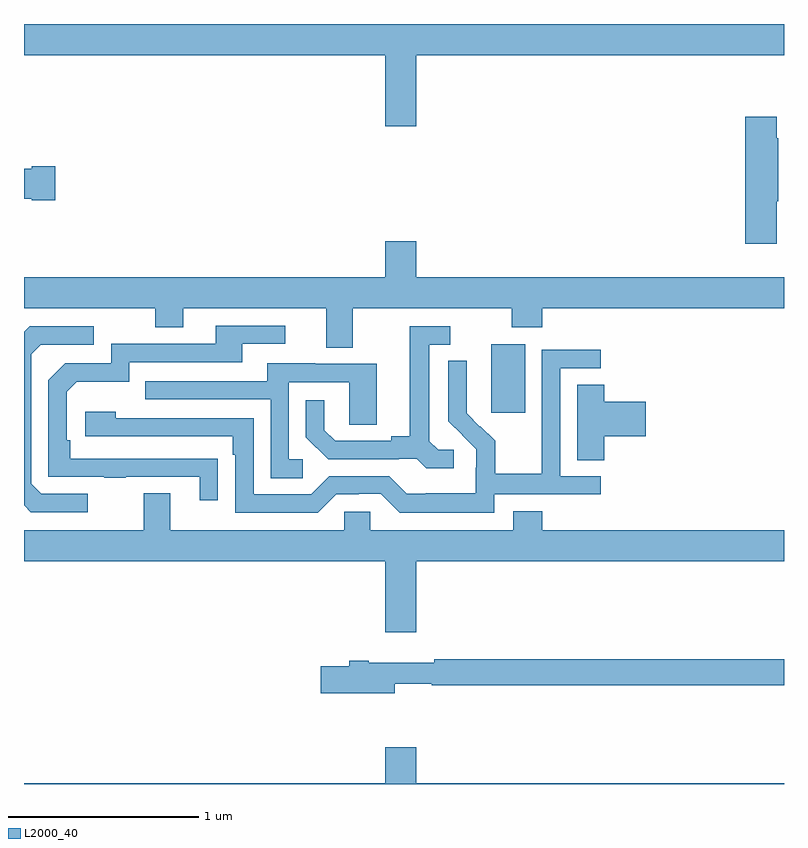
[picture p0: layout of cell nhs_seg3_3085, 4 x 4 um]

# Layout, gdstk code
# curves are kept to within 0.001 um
import gdstk
lib = gdstk.Library(unit=1e-6, precision=1e-09)
def R(c, l, rs):  # rectangles x0, y0, x1, y1
    for r in rs: c.add(gdstk.rectangle(r[:2], r[2:], *l))
def P(c, l, *ps):  # polygons
    for p in ps: c.add(gdstk.Polygon(p, *l))
L2000_40 = (2000, 40)

nhs_seg3_3085 = lib.new_cell('nhs_seg3_3085')
R(nhs_seg3_3085, L2000_40, [(273.458,712.353,273.637,712.714)])
P(nhs_seg3_3085, L2000_40, [(273.064,714.236),(275,714.236),(275,714.4),(271,714.4),(271,714.236),(272.9,714.236),(272.9,713.862),(273.064,713.862)],
  [(274.963,713.467),(274.971,713.467),(274.971,713.798),(274.963,713.798),(274.963,713.911),(274.796,713.911),(274.796,713.244),(274.963,713.244)],
  [(271.165,713.651),(271.041,713.651),(271.041,713.638),(271,713.638),(271,713.48),(271.041,713.48),(271.041,713.473),(271.165,713.473)],
  [(271,712.904),(271.69,712.904),(271.69,712.805),(271.837,712.805),(271.837,712.904),(272.591,712.904),(272.591,712.696),(272.731,712.696),(272.731,712.904),(273.568,712.904),(273.568,712.805),(273.728,712.805),(273.728,712.904),(275,712.904),(275,713.068),(273.064,713.068),(273.064,713.257),(272.9,713.257),(272.9,713.068),(271,713.068)],
  [(272.021,712.112),(271.244,712.113),(271.244,712.21),(271.224,712.21),(271.224,712.464),(271.277,712.517),(271.554,712.517),(271.554,712.62),(272.149,712.62),(272.149,712.716),(272.374,712.716),(272.374,712.812),(272.009,712.812),(272.009,712.716),(271.458,712.716),(271.458,712.614),(271.218,712.614),(271.128,712.524),(271.128,712.017),(271.423,712.017),(271.423,712.012),(271.535,712.012),(271.535,712.017),(271.925,712.017),(271.925,711.894),(272.021,711.894)],
  [(271.336,711.927),(271.092,711.927),(271.038,711.981),(271.038,712.662),(271.089,712.713),(271.366,712.713),(271.366,712.809),(271.029,712.809),(271,712.78),(271,711.866),(271.035,711.831),(271.336,711.831)],
  [(273.262,712.158),(273.18,712.158),(273.133,712.205),(273.133,712.713),(273.244,712.713),(273.244,712.809),(273.029,712.809),(273.029,712.229),(272.933,712.229),(272.933,712.206),(272.638,712.206),(272.581,712.263),(272.581,712.42),(272.484,712.42),(272.484,712.226),(272.6,712.11),(272.972,712.11),(272.972,712.113),(273.066,712.113),(273.118,712.061),(273.262,712.061)],
  [(273.474,711.924),(274.036,711.924),(274.036,712.02),(273.822,712.02),(273.822,712.587),(274.036,712.587),(274.036,712.686),(273.726,712.686),(273.726,712.256),(273.724,712.256),(273.724,712.033),(273.479,712.033),(273.479,712.207),(273.402,712.284),(273.399,712.281),(273.329,712.352),(273.33,712.628),(273.234,712.628),(273.234,712.31),(273.38,712.162),(273.38,712.065),(273.378,712.065),(273.378,711.931),(273.115,711.931),(273.115,711.927),(273.015,711.927),(272.922,712.02),(272.607,712.02),(272.511,711.924),(272.208,711.924),(272.208,712.326),(271.484,712.326),(271.484,712.36),(271.323,712.36),(271.323,712.23),(272.099,712.23),(272.099,712.133),(272.112,712.133),(272.112,711.828),(272.547,711.828),(272.643,711.924),(272.762,711.924),(272.762,711.927),(272.877,711.927),(272.977,711.827),(273.474,711.827)],
  [(272.467,712.11),(272.394,712.11),(272.394,712.515),(272.712,712.515),(272.712,712.291),(272.857,712.291),(272.857,712.611),(272.533,712.611),(272.533,712.615),(272.279,712.615),(272.279,712.521),(271.639,712.521),(271.639,712.425),(272.298,712.425),(272.298,712.009),(272.467,712.009)],
  [(274.055,712.229),(274.273,712.229),(274.273,712.412),(274.055,712.412),(274.055,712.502),(273.911,712.502),(273.911,712.105),(274.055,712.105)],
  [(273.064,711.572),(275,711.572),(275,711.736),(273.728,711.736),(273.728,711.835),(273.575,711.835),(273.575,711.736),(272.823,711.736),(272.823,711.834),(272.685,711.834),(272.685,711.736),(271.771,711.736),(271.771,711.931),(271.631,711.931),(271.631,711.736),(271,711.736),(271,711.572),(272.9,711.572),(272.9,711.198),(273.064,711.198)],
  [(272.95,710.928),(273.146,710.928),(273.146,710.92),(275,710.92),(275,711.056),(273.16,711.056),(273.16,711.037),(272.815,711.037),(272.815,711.05),(272.711,711.05),(272.711,711.02),(272.562,711.02),(272.562,710.878),(272.95,710.878)],
  [(275,710.404),(273.064,710.404),(273.064,710.593),(272.9,710.593),(272.9,710.404),(271,710.404),(271,710.4),(275,710.4)])

lib.write_gds('nhs_seg3_3085.gds')
